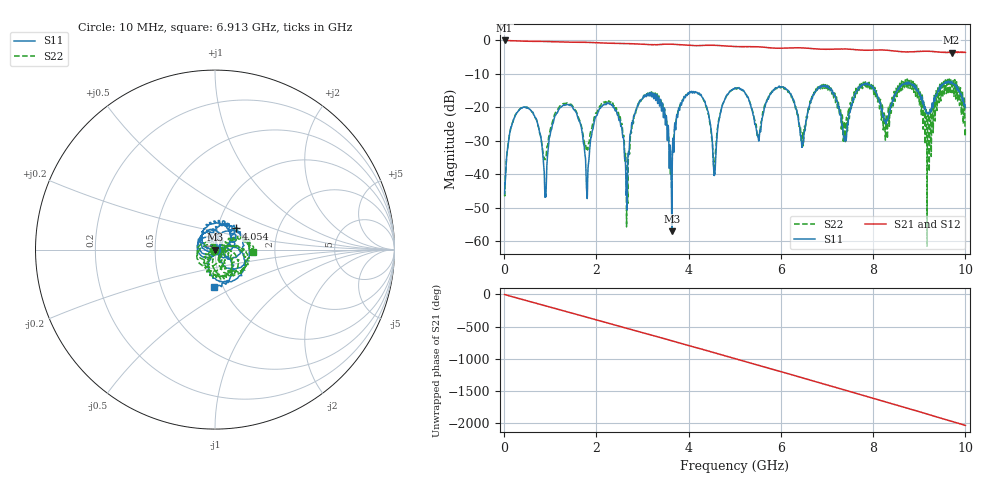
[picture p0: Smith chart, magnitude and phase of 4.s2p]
!Keysight Technologies,E5080B,MY59205177,A.15.75.32
!Date: Friday, February 23, 2024 03:25:39
!Correction: S11(Cdelta 2-Port  )
!S21(Cdelta 2-Port  )
!S12(Cdelta 2-Port  )
!S22(Cdelta 2-Port  )
!S2P File: Measurements: S11, S21, S12, S22:
# Hz S  dB  R 50
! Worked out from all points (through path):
!   10001 points, 10 MHz to 10 GHz, reference 50 ohm
!   highest |S21| = -0.02 dB at 10 MHz (marker M1); lowest = -3.7 dB at 9.701 GHz (marker M2)
!   group delay of S21, straight-line fit = 565 ps
!   lowest |S11| = -57.1 dB at 3.634 GHz (marker M3), VSWR 1.00, Z = 50.1 - j0.126 ohm
!   |S11| at or under -10 dB: start of sweep to end of sweep
!   |S22| runs from -61.5 to -11.2 dB; largest |S21 - S12| = 0.0016
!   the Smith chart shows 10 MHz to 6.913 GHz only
!   S11 on the Smith chart (normalised r, x): 10 MHz: 1.01, -0.00; 4.054 GHz: 1.23, +0.30; 6.913 GHz: 0.91, -0.39
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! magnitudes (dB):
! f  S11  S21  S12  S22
! 10 MHz  -45.8  0.0  0.0  -46.3
! 361.6 MHz  -20.3  -0.2  -0.2  -20.3
! 889.1 MHz  -46.4  -0.3  -0.3  -35.4
! 1.213 GHz  -20.1  -0.5  -0.5  -19.6
! 1.675 GHz  -26.2  -0.6  -0.6  -25.5
! 1.802 GHz  -46.9  -0.6  -0.6  -32.0
! 2.35 GHz  -19.3  -0.9  -0.9  -18.8
! 2.663 GHz  -50.7  -0.9  -0.9  -42.3
! 2.89 GHz  -19.4  -1.1  -1.1  -20.3
! 3.341 GHz  -17.5  -1.2  -1.2  -17.8
! 3.634 GHz  -57.1  -1.1  -1.1  -42.3
! 4.054 GHz  -15.5  -1.5  -1.5  -15.5
! 4.56 GHz  -40.3  -1.5  -1.5  -39.3
! 5.005 GHz  -14.2  -1.8  -1.8  -14.5
! 5.515 GHz  -29.7  -1.9  -1.9  -28.8
! 6.67 GHz  -17.3  -2.4  -2.4  -16.9
! 6.913 GHz  -13.7  -2.6  -2.6  -13.4
! 7.382 GHz  -29.9  -2.6  -2.6  -25.1
! 7.795 GHz  -13.1  -2.9  -2.9  -12.7
! 8.336 GHz  -22.5  -3.0  -3.0  -20.5
! 9.701 GHz  -12.3  -3.7  -3.7  -13.9
! 10 GHz  -20.1  -3.6  -3.6  -26.3
